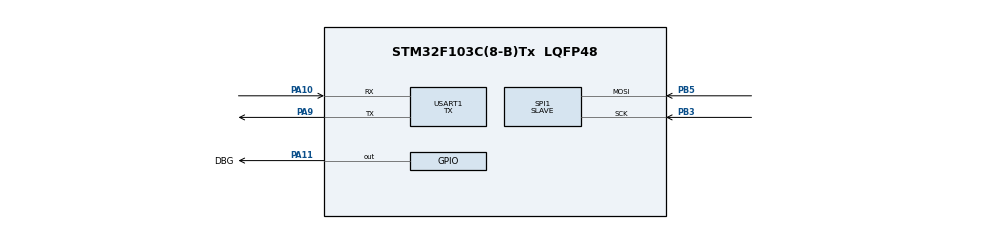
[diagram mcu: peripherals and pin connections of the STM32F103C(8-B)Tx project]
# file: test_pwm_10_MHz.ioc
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Mcu.Family=STM32F1
Mcu.Name=STM32F103C(8-B)Tx
Mcu.Package=LQFP48
NVIC.PriorityGroup=NVIC_PRIORITYGROUP_4
NVIC.SPI1_IRQn=true\:0\:0\:false\:false\:true\:true\:true\:true
NVIC.TIM3_IRQn=true\:0\:0\:false\:false\:true\:true\:true\:true
NVIC.TIM4_IRQn=true\:0\:0\:false\:false\:true\:true\:true\:true
PA10.Mode=Asynchronous
PA10.Signal=USART1_RX
PA11.GPIO_Label=DBG
PA11.GPIO_Speed=GPIO_SPEED_FREQ_HIGH
PA11.Signal=GPIO_Output
PA13.Mode=Serial_Wire
PA13.Signal=SYS_JTMS-SWDIO
PA14.Mode=Serial_Wire
PA14.Signal=SYS_JTCK-SWCLK
PA9.Mode=Asynchronous
PA9.Signal=USART1_TX
PB3.Mode=RX_Only_Simplex_Unidirect_Slave
PB3.Signal=SPI1_SCK
PB5.Mode=RX_Only_Simplex_Unidirect_Slave
PB5.Signal=SPI1_MOSI
PD0-OSC_IN.Mode=HSE-External-Oscillator
PD0-OSC_IN.Signal=RCC_OSC_IN
PD1-OSC_OUT.Mode=HSE-External-Oscillator
PD1-OSC_OUT.Signal=RCC_OSC_OUT
ProjectManager.HeapSize=0x200
ProjectManager.StackSize=0x400
ProjectManager.TargetToolchain=MDK-ARM V5.32
RCC.AHBFreq_Value=72000000
RCC.APB1CLKDivider=RCC_HCLK_DIV2
RCC.APB1Freq_Value=36000000
RCC.APB1TimFreq_Value=72000000
RCC.APB2Freq_Value=72000000
RCC.APB2TimFreq_Value=72000000
RCC.HCLKFreq_Value=72000000
RCC.PLLMUL=RCC_PLL_MUL9
RCC.PLLSourceVirtual=RCC_PLLSOURCE_HSE
RCC.SYSCLKFreq_VALUE=72000000
RCC.SYSCLKSource=RCC_SYSCLKSOURCE_PLLCLK
RCC.USBFreq_Value=72000000
SPI1.CLKPhase=SPI_PHASE_1EDGE
SPI1.DataSize=SPI_DATASIZE_16BIT
SPI1.Direction=SPI_DIRECTION_2LINES_RXONLY
SPI1.Mode=SPI_MODE_SLAVE
SPI1.VirtualType=VM_SLAVE
TIM3.AutoReloadPreload=TIM_AUTORELOAD_PRELOAD_DISABLE
TIM3.CounterMode=TIM_COUNTERMODE_UP
TIM3.Period=71
TIM4.Period=9999
TIM4.Prescaler=7199
USART1.Mode=MODE_TX
USART1.VirtualMode=VM_ASYNC
VP_TIM3_VS_ClockSourceINT.Mode=Internal
VP_TIM4_VS_ClockSourceINT.Mode=Internal
board=custom

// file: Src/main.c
/* USER CODE BEGIN Header */
/**
  ******************************************************************************
  * @file           : main.c
  * @brief          : Main program body
  ******************************************************************************
  * @attention
  *
  * Copyright (c) 2022 STMicroelectronics.
  * All rights reserved.
  *
  * This software is licensed under terms that can be found in the LICENSE file
  * in the root directory of this software component.
  * If no LICENSE file comes with this software, it is provided AS-IS.
  *
  ******************************************************************************
  */
/* USER CODE END Header */
#include "main.h"

void SystemClock_Config(void);
static void MX_GPIO_Init(void);
static void MX_TIM3_Init(void);
static void MX_TIM4_Init(void);
static void MX_USART1_UART_Init(void);
static void MX_SPI1_Init(void);

/* USER CODE BEGIN 0 */
#include <stdio.h>
#include <string.h>
#include "common.h"

data_t data = {
  .addr0 = 444
};

void init_exti(void)
{
    LL_EXTI_InitTypeDef EXTI_InitStruct = {0};
  /**/
  LL_GPIO_AF_SetEXTISource(LL_GPIO_AF_EXTI_PORTB, LL_GPIO_AF_EXTI_LINE3);

  /**/
  LL_GPIO_AF_SetEXTISource(LL_GPIO_AF_EXTI_PORTB, LL_GPIO_AF_EXTI_LINE5);

  /**/
  EXTI_InitStruct.Line_0_31 = LL_EXTI_LINE_3;
  EXTI_InitStruct.LineCommand = ENABLE;
  EXTI_InitStruct.Mode = LL_EXTI_MODE_IT;
  EXTI_InitStruct.Trigger = LL_EXTI_TRIGGER_FALLING;
  LL_EXTI_Init(&EXTI_InitStruct);

  /**/
  EXTI_InitStruct.Line_0_31 = LL_EXTI_LINE_5;
  EXTI_InitStruct.LineCommand = ENABLE;
  EXTI_InitStruct.Mode = LL_EXTI_MODE_IT;
  EXTI_InitStruct.Trigger = LL_EXTI_TRIGGER_FALLING;
  LL_EXTI_Init(&EXTI_InitStruct);

  /**/
  LL_GPIO_SetPinMode(GPIOB, LL_GPIO_PIN_3, LL_GPIO_MODE_FLOATING);

  /**/
  LL_GPIO_SetPinMode(GPIOB, LL_GPIO_PIN_5, LL_GPIO_MODE_FLOATING);

  /* EXTI interrupt init*/
  NVIC_SetPriority(EXTI3_IRQn, NVIC_EncodePriority(NVIC_GetPriorityGrouping(),0, 0));
  NVIC_EnableIRQ(EXTI3_IRQn);
  NVIC_SetPriority(EXTI9_5_IRQn, NVIC_EncodePriority(NVIC_GetPriorityGrouping(),0, 0));
  NVIC_EnableIRQ(EXTI9_5_IRQn);
}

void uart_send(char bfr[], uint16_t length)
{
  while (length--)
  {
    while (!LL_USART_IsActiveFlag_TXE(USART1));
    LL_USART_TransmitData8(USART1, (uint8_t)*bfr++);
  }
}
/* USER CODE END 0 */

int main(void)
{

  /* MCU Configuration--------------------------------------------------------*/

  /* Reset of all peripherals, Initializes the Flash interface and the Systick. */
  LL_APB2_GRP1_EnableClock(LL_APB2_GRP1_PERIPH_AFIO);
  LL_APB1_GRP1_EnableClock(LL_APB1_GRP1_PERIPH_PWR);

  /* System interrupt init*/
  NVIC_SetPriorityGrouping(NVIC_PRIORITYGROUP_4);

  /* SysTick_IRQn interrupt configuration */
  NVIC_SetPriority(SysTick_IRQn, NVIC_EncodePriority(NVIC_GetPriorityGrouping(),15, 0));

  /** NOJTAG: JTAG-DP Disabled and SW-DP Enabled
  */
  LL_GPIO_AF_Remap_SWJ_NOJTAG();

  /* Configure the system clock */
  SystemClock_Config();

  /* Initialize all configured peripherals */
  MX_GPIO_Init();
  MX_TIM3_Init();
  MX_TIM4_Init();
  MX_USART1_UART_Init();
  MX_SPI1_Init();

  /* Infinite loop */
  /* USER CODE BEGIN WHILE */
  LL_SPI_EnableIT_RXNE(SPI1);

  //timer 1s
  LL_TIM_EnableCounter(TIM4);
  LL_TIM_EnableIT_UPDATE(TIM4);

  init_exti();
  LL_TIM_SetAutoReload(TIM3, 3 * TIME_1_us);
  LL_TIM_EnableIT_UPDATE(TIM3);
  LL_TIM_EnableCounter(TIM3);

  uint8_t cnt = 0;
  char str[64];
  while (1)
  {
    if (data.flags.timer1s)
    {
      data.flags.timer1s = 0;

      sprintf(str, "%4d:%4d\r\n", cnt++, data.addr);
      uart_send(str, strlen(str));
    }
    /* USER CODE END WHILE */

  }
}

void SystemClock_Config(void)
{
  LL_FLASH_SetLatency(LL_FLASH_LATENCY_2);
  while(LL_FLASH_GetLatency()!= LL_FLASH_LATENCY_2)
  {
  }
  LL_RCC_HSE_Enable();

   /* Wait till HSE is ready */
  while(LL_RCC_HSE_IsReady() != 1)
  {

  }
  LL_RCC_PLL_ConfigDomain_SYS(LL_RCC_PLLSOURCE_HSE_DIV_1, LL_RCC_PLL_MUL_9);
  LL_RCC_PLL_Enable();

   /* Wait till PLL is ready */
  while(LL_RCC_PLL_IsReady() != 1)
  {

  }
  LL_RCC_SetAHBPrescaler(LL_RCC_SYSCLK_DIV_1);
  LL_RCC_SetAPB1Prescaler(LL_RCC_APB1_DIV_2);
  LL_RCC_SetAPB2Prescaler(LL_RCC_APB2_DIV_1);
  LL_RCC_SetSysClkSource(LL_RCC_SYS_CLKSOURCE_PLL);

   /* Wait till System clock is ready */
  while(LL_RCC_GetSysClkSource() != LL_RCC_SYS_CLKSOURCE_STATUS_PLL)
  {

  }
  LL_Init1msTick(72000000);
  LL_SetSystemCoreClock(72000000);
}

static void MX_SPI1_Init(void)
{

  LL_SPI_InitTypeDef SPI_InitStruct = {0};

  LL_GPIO_InitTypeDef GPIO_InitStruct = {0};

  /* Peripheral clock enable */
  LL_APB2_GRP1_EnableClock(LL_APB2_GRP1_PERIPH_SPI1);

  LL_APB2_GRP1_EnableClock(LL_APB2_GRP1_PERIPH_GPIOB);
  /**SPI1 GPIO Configuration
  PB3   ------> SPI1_SCK
  PB5   ------> SPI1_MOSI
  */
  GPIO_InitStruct.Pin = LL_GPIO_PIN_3|LL_GPIO_PIN_5;
  GPIO_InitStruct.Mode = LL_GPIO_MODE_FLOATING;
  LL_GPIO_Init(GPIOB, &GPIO_InitStruct);

  LL_GPIO_AF_EnableRemap_SPI1();

  /* SPI1 interrupt Init */
  NVIC_SetPriority(SPI1_IRQn, NVIC_EncodePriority(NVIC_GetPriorityGrouping(),0, 0));
  NVIC_EnableIRQ(SPI1_IRQn);

  /* SPI1 parameter configuration*/
  SPI_InitStruct.TransferDirection = LL_SPI_SIMPLEX_RX;
  SPI_InitStruct.Mode = LL_SPI_MODE_SLAVE;
  SPI_InitStruct.DataWidth = LL_SPI_DATAWIDTH_16BIT;
  SPI_InitStruct.ClockPolarity = LL_SPI_POLARITY_LOW;
  SPI_InitStruct.ClockPhase = LL_SPI_PHASE_1EDGE;
  SPI_InitStruct.NSS = LL_SPI_NSS_SOFT;
  SPI_InitStruct.BitOrder = LL_SPI_MSB_FIRST;
  SPI_InitStruct.CRCCalculation = LL_SPI_CRCCALCULATION_DISABLE;
  SPI_InitStruct.CRCPoly = 10;
  LL_SPI_Init(SPI1, &SPI_InitStruct);

}

static void MX_TIM3_Init(void)
{

  LL_TIM_InitTypeDef TIM_InitStruct = {0};

  /* Peripheral clock enable */
  LL_APB1_GRP1_EnableClock(LL_APB1_GRP1_PERIPH_TIM3);

  /* TIM3 interrupt Init */
  NVIC_SetPriority(TIM3_IRQn, NVIC_EncodePriority(NVIC_GetPriorityGrouping(),0, 0));
  NVIC_EnableIRQ(TIM3_IRQn);

  TIM_InitStruct.Prescaler = 0;
  TIM_InitStruct.CounterMode = LL_TIM_COUNTERMODE_UP;
  TIM_InitStruct.Autoreload = 71;
  TIM_InitStruct.ClockDivision = LL_TIM_CLOCKDIVISION_DIV1;
  LL_TIM_Init(TIM3, &TIM_InitStruct);
  LL_TIM_DisableARRPreload(TIM3);
  LL_TIM_SetClockSource(TIM3, LL_TIM_CLOCKSOURCE_INTERNAL);
  LL_TIM_SetTriggerOutput(TIM3, LL_TIM_TRGO_RESET);
  LL_TIM_DisableMasterSlaveMode(TIM3);

}

static void MX_TIM4_Init(void)
{

  LL_TIM_InitTypeDef TIM_InitStruct = {0};

  /* Peripheral clock enable */
  LL_APB1_GRP1_EnableClock(LL_APB1_GRP1_PERIPH_TIM4);

  /* TIM4 interrupt Init */
  NVIC_SetPriority(TIM4_IRQn, NVIC_EncodePriority(NVIC_GetPriorityGrouping(),0, 0));
  NVIC_EnableIRQ(TIM4_IRQn);

  TIM_InitStruct.Prescaler = 7199;
  TIM_InitStruct.CounterMode = LL_TIM_COUNTERMODE_UP;
  TIM_InitStruct.Autoreload = 9999;
  TIM_InitStruct.ClockDivision = LL_TIM_CLOCKDIVISION_DIV1;
  LL_TIM_Init(TIM4, &TIM_InitStruct);
  LL_TIM_DisableARRPreload(TIM4);
  LL_TIM_SetClockSource(TIM4, LL_TIM_CLOCKSOURCE_INTERNAL);
  LL_TIM_SetTriggerOutput(TIM4, LL_TIM_TRGO_RESET);
  LL_TIM_DisableMasterSlaveMode(TIM4);

}

static void MX_USART1_UART_Init(void)
{

  LL_USART_InitTypeDef USART_InitStruct = {0};

  LL_GPIO_InitTypeDef GPIO_InitStruct = {0};

  /* Peripheral clock enable */
  LL_APB2_GRP1_EnableClock(LL_APB2_GRP1_PERIPH_USART1);

  LL_APB2_GRP1_EnableClock(LL_APB2_GRP1_PERIPH_GPIOA);
  /**USART1 GPIO Configuration
  PA9   ------> USART1_TX
  PA10   ------> USART1_RX
  */
  GPIO_InitStruct.Pin = LL_GPIO_PIN_9;
  GPIO_InitStruct.Mode = LL_GPIO_MODE_ALTERNATE;
  GPIO_InitStruct.Speed = LL_GPIO_SPEED_FREQ_HIGH;
  GPIO_InitStruct.OutputType = LL_GPIO_OUTPUT_PUSHPULL;
  LL_GPIO_Init(GPIOA, &GPIO_InitStruct);

  GPIO_InitStruct.Pin = LL_GPIO_PIN_10;
  GPIO_InitStruct.Mode = LL_GPIO_MODE_FLOATING;
  LL_GPIO_Init(GPIOA, &GPIO_InitStruct);

  USART_InitStruct.BaudRate = 115200;
  USART_InitStruct.DataWidth = LL_USART_DATAWIDTH_8B;
  USART_InitStruct.StopBits = LL_USART_STOPBITS_1;
  USART_InitStruct.Parity = LL_USART_PARITY_NONE;
  USART_InitStruct.TransferDirection = LL_USART_DIRECTION_TX;
  USART_InitStruct.HardwareFlowControl = LL_USART_HWCONTROL_NONE;
  USART_InitStruct.OverSampling = LL_USART_OVERSAMPLING_16;
  LL_USART_Init(USART1, &USART_InitStruct);
  LL_USART_ConfigAsyncMode(USART1);
  LL_USART_Enable(USART1);

}

static void MX_GPIO_Init(void)
{
  LL_GPIO_InitTypeDef GPIO_InitStruct = {0};

  /* GPIO Ports Clock Enable */
  LL_APB2_GRP1_EnableClock(LL_APB2_GRP1_PERIPH_GPIOD);
  LL_APB2_GRP1_EnableClock(LL_APB2_GRP1_PERIPH_GPIOA);
  LL_APB2_GRP1_EnableClock(LL_APB2_GRP1_PERIPH_GPIOB);

  /**/
  LL_GPIO_ResetOutputPin(DBG_GPIO_Port, DBG_Pin);

  /**/
  GPIO_InitStruct.Pin = DBG_Pin;
  GPIO_InitStruct.Mode = LL_GPIO_MODE_OUTPUT;
  GPIO_InitStruct.Speed = LL_GPIO_SPEED_FREQ_HIGH;
  GPIO_InitStruct.OutputType = LL_GPIO_OUTPUT_PUSHPULL;
  LL_GPIO_Init(DBG_GPIO_Port, &GPIO_InitStruct);

}

void Error_Handler(void)
{
  __disable_irq();
  while (1)
  {
  }
}
